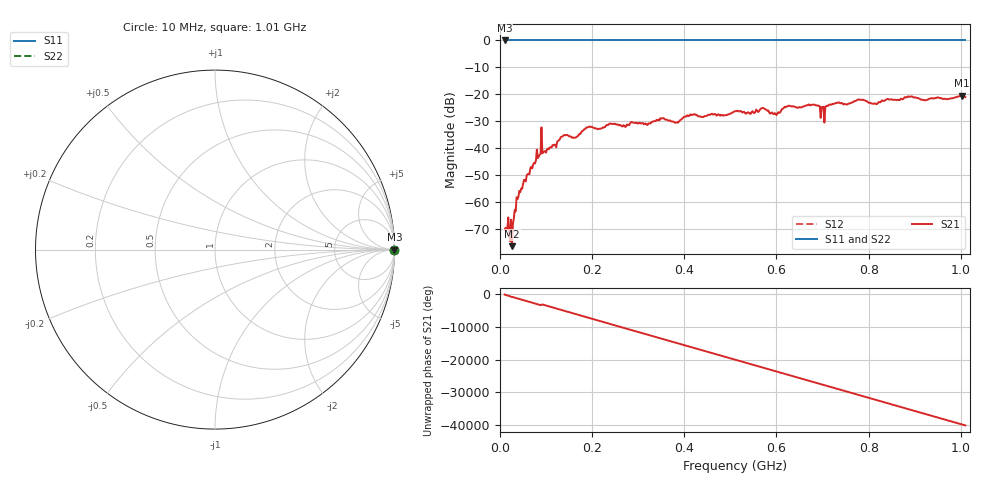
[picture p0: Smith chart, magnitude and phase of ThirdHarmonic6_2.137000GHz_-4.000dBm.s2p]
! 8/17/2025 1:31:42 AM
! C:\ANRITSUVNA\TEMP\TEMP.S2P
! CHANNEL.1
! TR.MEASUREMENT
! RAW.DATA
! RF.CORRECTION.OFF
! AVERAGING.OFF
! IF.BANDWIDTH: 5KHZ
! SWEEPTYPE:  FREQ.SWEEP(Linear)
! Reference Plane Port Info
! PORT:  PORT1  PORT2
! DISTANCE:  0  m  0  m
! TIME:  0  s  0  s
! PHASE.OFFSET:  0  deg.  0  deg.
! LOSS:  0  dB  0  dB
! REF.LOSS:  0  dB  0  dB
! REF.FREQ:  0  Hz  0  Hz
! Power Info
! POWER:  -20  dBm  -20  dBm
! EFF.POWER:  -20  dBm  -20  dBm
! SOURCE.ATTEN:  0  dB  0  dB
! TEST.ATTEN:  0  dB  0  dB
# GHZ S RI R 50.0
! FREQ.GHZ  S11RE  S11IM  S21RE  S21IM  S12RE  S12IM  S22RE  S22IM
!; PortSelection: Port_12
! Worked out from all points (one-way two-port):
!   501 points, 10 MHz to 1.01 GHz, reference 50 ohm
!   highest |S21| = -20.49 dB at 1.002 GHz (marker M1); lowest = -76.6 dB at 26 MHz (marker M2)
!   lowest |S11| = 0.0 dB at 10 MHz (marker M3)
!   |S11| at or under -10 dB: nowhere
!   |S22| runs from 0.0 to 0.0 dB; largest |S21 - S12| = 1.1
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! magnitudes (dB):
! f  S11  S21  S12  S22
! 10 MHz  0.0  -70.5  0.0  0.0
! 26 MHz  0.0  -76.6  0.0  0.0
! 40 MHz  0.0  -58.1  0.0  0.0
! 86 MHz  0.0  -42.5  0.0  0.0
! 94 MHz  0.0  -41.4  0.0  0.0
! 96 MHz  0.0  -41.3  0.0  0.0
! 136 MHz  0.0  -35.7  0.0  0.0
! 164 MHz  0.0  -36.1  0.0  0.0
! 178 MHz  0.0  -33.8  0.0  0.0
! 344 MHz  0.0  -29.5  0.0  0.0
! 384 MHz  0.0  -30.4  0.0  0.0
! 416 MHz  0.0  -27.8  0.0  0.0
! 510 MHz  0.0  -26.4  0.0  0.0
! 570 MHz  0.0  -25.1  0.0  0.0
! 598 MHz  0.0  -27.3  0.0  0.0
! 622 MHz  0.0  -24.6  0.0  0.0
! 678 MHz  0.0  -23.9  0.0  0.0
! 700 MHz  0.0  -24.7  0.0  0.0
! 732 MHz  0.0  -23.2  0.0  0.0
! 844 MHz  0.0  -22.0  0.0  0.0
! 1.002 GHz  0.0  -20.5  0.0  0.0
! 1.01 GHz  0.0  -21.1  0.0  0.0
